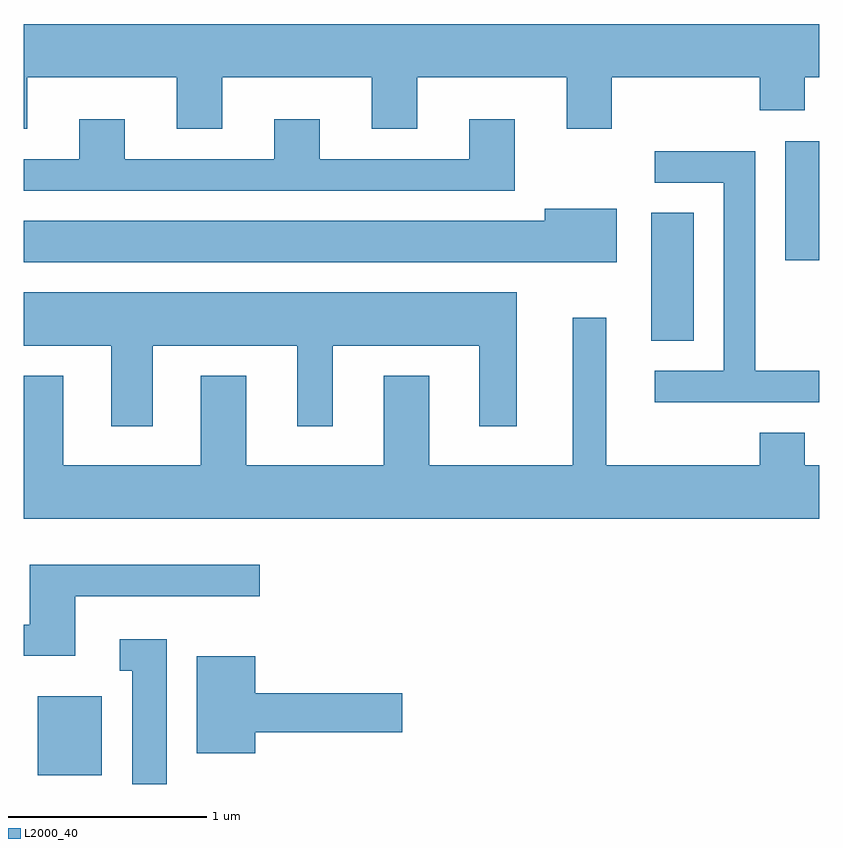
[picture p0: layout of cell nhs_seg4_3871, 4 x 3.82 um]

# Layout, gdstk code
import gdstk
lib = gdstk.Library(unit=1e-6, precision=1e-09)
def R(c, l, rs):  # rectangles x0, y0, x1, y1
    for r in rs: c.add(gdstk.rectangle(r[:2], r[2:], *l))
def P(c, l, *ps):  # polygons
    for p in ps: c.add(gdstk.Polygon(p, *l))
L2000_40 = (2000, 40)

nhs_seg4_3871 = lib.new_cell('nhs_seg4_3871')
R(nhs_seg4_3871, L2000_40, [(297.681,1380.026,298.004,1380.424), (300.766,1382.211,300.979,1382.854), (301.441,1382.616,301.611,1383.214)])
P(nhs_seg4_3871, L2000_40, [(297.629,1383.536),(298.381,1383.536),(298.381,1383.276),(298.609,1383.276),(298.609,1383.536),(299.361,1383.536),(299.361,1383.276),(299.589,1383.276),(299.589,1383.536),(300.341,1383.536),(300.341,1383.276),(300.569,1383.276),(300.569,1383.536),(301.311,1383.536),(301.311,1383.371),(301.539,1383.371),(301.539,1383.536),(301.611,1383.536),(301.611,1383.804),(297.611,1383.804),(297.611,1383.276),(297.629,1383.276)],
  [(300.079,1383.324),(299.851,1383.324),(299.851,1383.124),(299.099,1383.124),(299.099,1383.324),(298.871,1383.324),(298.871,1383.124),(298.119,1383.124),(298.119,1383.324),(297.891,1383.324),(297.891,1383.124),(297.611,1383.124),(297.611,1382.966),(300.079,1382.966)],
  [(301.611,1382.059),(301.289,1382.059),(301.289,1383.164),(300.783,1383.164),(300.783,1383.006),(301.131,1383.006),(301.131,1382.059),(300.783,1382.059),(300.783,1381.901),(301.611,1381.901)],
  [(300.594,1382.874),(300.231,1382.874),(300.231,1382.814),(297.611,1382.814),(297.611,1382.606),(300.594,1382.606)],
  [(298.259,1382.186),(298.986,1382.186),(298.986,1381.781),(299.164,1381.781),(299.164,1382.186),(299.901,1382.186),(299.901,1381.781),(300.089,1381.781),(300.089,1382.454),(297.611,1382.454),(297.611,1382.186),(298.051,1382.186),(298.051,1381.781),(298.259,1381.781)],
  [(301.611,1381.584),(301.539,1381.584),(301.539,1381.749),(301.311,1381.749),(301.311,1381.584),(300.539,1381.584),(300.539,1382.328),(300.371,1382.328),(300.371,1381.584),(299.649,1381.584),(299.649,1382.034),(299.421,1382.034),(299.421,1381.584),(298.729,1381.584),(298.729,1382.034),(298.501,1382.034),(298.501,1381.584),(297.809,1381.584),(297.809,1382.034),(297.611,1382.034),(297.611,1381.316),(301.611,1381.316)],
  [(297.869,1380.926),(298.798,1380.926),(298.798,1381.084),(297.641,1381.084),(297.641,1380.784),(297.611,1380.784),(297.611,1380.626),(297.869,1380.626)],
  [(298.329,1380.709),(298.093,1380.709),(298.093,1380.551),(298.156,1380.551),(298.156,1379.982),(298.329,1379.982)],
  [(298.774,1380.241),(299.514,1380.241),(299.514,1380.439),(298.774,1380.439),(298.774,1380.624),(298.481,1380.624),(298.481,1380.136),(298.774,1380.136)])

lib.write_gds('nhs_seg4_3871.gds')
